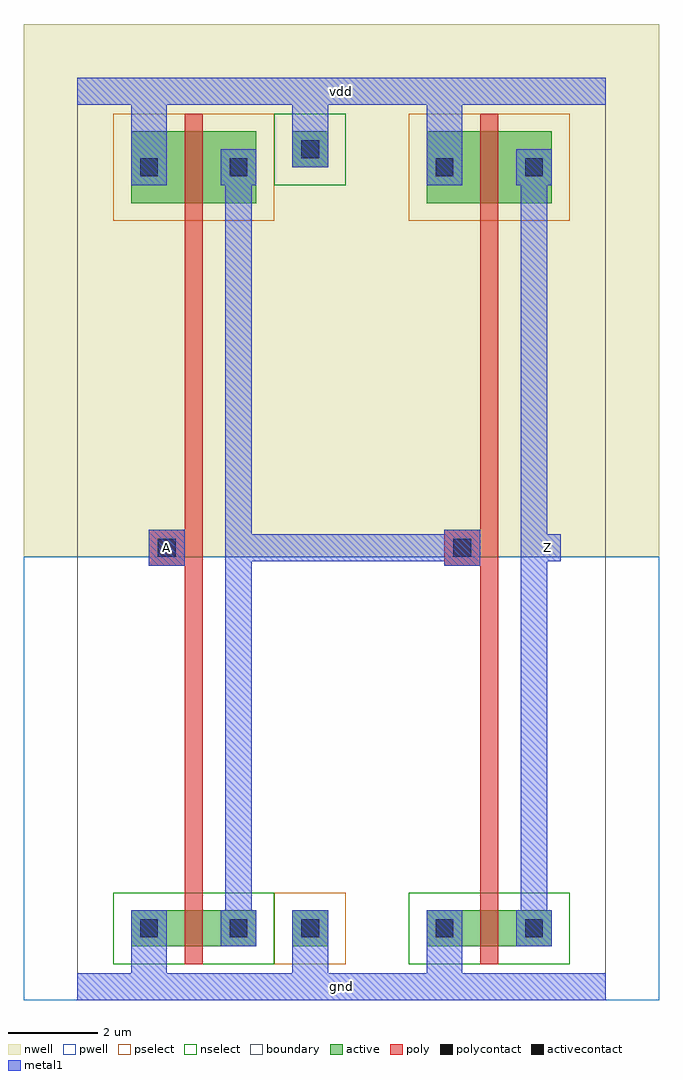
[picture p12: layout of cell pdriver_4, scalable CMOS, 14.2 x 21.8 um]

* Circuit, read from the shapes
.subckt pdriver_4 A Z gnd vdd
M1 pinv_9_1/A A gnd gnd nfet w=0.8u l=0.4u
M2 Z pinv_9_1/A gnd gnd nfet w=0.8u l=0.4u
M3 pinv_9_1/A A vdd vdd pfet w=1.6u l=0.4u
M4 Z pinv_9_1/A vdd vdd pfet w=1.6u l=0.4u
.ends

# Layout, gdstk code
import gdstk
lib = gdstk.Library(unit=1e-6, precision=1e-09)
def R(c, l, rs):  # rectangles x0, y0, x1, y1
    for r in rs: c.add(gdstk.rectangle(r[:2], r[2:], *l))
pwell = (41, 0)
nwell = (42, 0)
active = (43, 0)
pselect = (44, 0)
nselect = (45, 0)
poly = (46, 0)
polycontact = (47, 0)
activecontact = (48, 0)
metal1 = (49, 0)
boundary = (63, 0)

contact_9 = lib.new_cell('contact_9')
R(contact_9, nwell, [(-1.2,-1.2,2,2)])
R(contact_9, active, [(0,0,0.8,0.8)])
R(contact_9, pselect, [(-0.4,-0.4,1.2,1.2)])
R(contact_9, activecontact, [(0.2,0.2,0.6,0.6)])
R(contact_9, metal1, [(0,0,0.8,0.8)])
R(contact_9, boundary, [(-1.2,-1.2,2,2)])

pmos_m1_w1_600_sm1_dm1_d = lib.new_cell('pmos_m1_w1_600_sm1_dm1_da_p')
R(pmos_m1_w1_600_sm1_dm1_d, nwell, [(-1.2,-1.2,4,2.8)])
R(pmos_m1_w1_600_sm1_dm1_d, active, [(0,0,2.8,1.6)])
R(pmos_m1_w1_600_sm1_dm1_d, pselect, [(-0.4,-0.4,3.2,2)])
R(pmos_m1_w1_600_sm1_dm1_d, poly, [(1.2,-0.4,1.6,2), (1.2,-0.4,1.6,2)])
R(pmos_m1_w1_600_sm1_dm1_d, metal1, [(0,0.4,0.8,1.2), (2,0.4,2.8,1.2)])
R(pmos_m1_w1_600_sm1_dm1_d, boundary, [(-1.2,-1.2,4,2.8)])
pmos_m1_w1_600_sm1_dm1_d.add(gdstk.Reference(contact_9, (0,0.4)))
pmos_m1_w1_600_sm1_dm1_d.add(gdstk.Reference(contact_9, (2,0.4)))
pmos_m1_w1_600_sm1_dm1_d.add(gdstk.Label('G', (1.4,0.8), layer=46, texttype=0))
pmos_m1_w1_600_sm1_dm1_d.add(gdstk.Label('S', (0.4,0.8), layer=49, texttype=0))
pmos_m1_w1_600_sm1_dm1_d.add(gdstk.Label('D', (2.4,0.8), layer=49, texttype=0))

contact_14 = lib.new_cell('contact_14')
R(contact_14, pwell, [(-1.2,-1.2,2,2)])
R(contact_14, active, [(0,0,0.8,0.8)])
R(contact_14, nselect, [(-0.4,-0.4,1.2,1.2)])
R(contact_14, activecontact, [(0.2,0.2,0.6,0.6)])
R(contact_14, metal1, [(0,0,0.8,0.8)])
R(contact_14, boundary, [(-1.2,-1.2,2,2)])

nmos_m1_w0_800_sm1_dm1_d = lib.new_cell('nmos_m1_w0_800_sm1_dm1_da_p')
R(nmos_m1_w0_800_sm1_dm1_d, pwell, [(-1.2,-1.2,4,2)])
R(nmos_m1_w0_800_sm1_dm1_d, active, [(0,0,2.8,0.8)])
R(nmos_m1_w0_800_sm1_dm1_d, nselect, [(-0.4,-0.4,3.2,1.2)])
R(nmos_m1_w0_800_sm1_dm1_d, poly, [(1.2,-0.4,1.6,1.2), (1.2,-0.4,1.6,1.2)])
R(nmos_m1_w0_800_sm1_dm1_d, metal1, [(0,0,0.8,0.8), (2,0,2.8,0.8)])
R(nmos_m1_w0_800_sm1_dm1_d, boundary, [(-1.2,-1.2,4,2)])
nmos_m1_w0_800_sm1_dm1_d.add(gdstk.Reference(contact_14, (0,0)))
nmos_m1_w0_800_sm1_dm1_d.add(gdstk.Reference(contact_14, (2,0)))
nmos_m1_w0_800_sm1_dm1_d.add(gdstk.Label('G', (1.4,0.4), layer=46, texttype=0))
nmos_m1_w0_800_sm1_dm1_d.add(gdstk.Label('S', (0.4,0.4), layer=49, texttype=0))
nmos_m1_w0_800_sm1_dm1_d.add(gdstk.Label('D', (2.4,0.4), layer=49, texttype=0))

contact_15 = lib.new_cell('contact_15')
R(contact_15, nwell, [(-1.2,-1.2,2,2)])
R(contact_15, active, [(0,0,0.8,0.8)])
R(contact_15, nselect, [(-0.4,-0.4,1.2,1.2)])
R(contact_15, activecontact, [(0.2,0.2,0.6,0.6)])
R(contact_15, metal1, [(0,0,0.8,0.8)])
R(contact_15, boundary, [(-1.2,-1.2,2,2)])

contact_16 = lib.new_cell('contact_16')
R(contact_16, pwell, [(-1.2,-1.2,2,2)])
R(contact_16, active, [(0,0,0.8,0.8)])
R(contact_16, pselect, [(-0.4,-0.4,1.2,1.2)])
R(contact_16, activecontact, [(0.2,0.2,0.6,0.6)])
R(contact_16, metal1, [(0,0,0.8,0.8)])
R(contact_16, boundary, [(-1.2,-1.2,2,2)])

contact_10 = lib.new_cell('contact_10')
R(contact_10, poly, [(0,0,0.8,0.8)])
R(contact_10, polycontact, [(0.2,0.2,0.6,0.6)])
R(contact_10, metal1, [(0,0,0.8,0.8)])
R(contact_10, boundary, [(0,0,0.8,0.8)])

pinv_6 = lib.new_cell('pinv_6')
R(pinv_6, pwell, [(-1.2,-0.3,7.8,9.6)])
R(pinv_6, nwell, [(-1.2,9.6,7.8,21.5)])
R(pinv_6, poly, [(2.4,2.1,2.8,17.1), (2,9.4,2.4,10.2)])
R(pinv_6, metal1, [(0,-0.3,6.6,0.3), (1.2,-0.3,2,0.9), (4.8,0,5.6,1.3), (3.3,0.9,3.9,18.7), (1.6,9.4,2.4,10.2), (3.6,9.5,4.2,10.1), (1.2,17.9,2,20.3), (4.8,18.7,5.6,20), (0,19.7,6.6,20.3)])
R(pinv_6, boundary, [(0,0,6.6,20), (0,0,6.6,20)])
pinv_6.add(gdstk.Reference(pmos_m1_w1_600_sm1_dm1_d, (1.2,17.5)))
pinv_6.add(gdstk.Reference(nmos_m1_w0_800_sm1_dm1_d, (1.2,0.9)))
pinv_6.add(gdstk.Reference(contact_15, (4.8,18.3)))
pinv_6.add(gdstk.Reference(contact_16, (4.8,0.9)))
pinv_6.add(gdstk.Reference(contact_10, (1.6,9.4)))
pinv_6.add(gdstk.Label('A', (2,9.8), layer=49, texttype=0))
pinv_6.add(gdstk.Label('Z', (3.9,9.8), layer=49, texttype=0))
pinv_6.add(gdstk.Label('gnd', (3.3,0), layer=49, texttype=0))
pinv_6.add(gdstk.Label('vdd', (3.3,20), layer=49, texttype=0))

pinv_9 = lib.new_cell('pinv_9')
R(pinv_9, pwell, [(-1.2,-0.3,6.4,9.6)])
R(pinv_9, nwell, [(-1.2,9.6,6.4,21.5)])
R(pinv_9, poly, [(2.4,2.1,2.8,17.1), (2,9.4,2.4,10.2)])
R(pinv_9, metal1, [(0,-0.3,5.2,0.3), (1.2,-0.3,2,0.9), (3.3,0.9,3.9,18.7), (1.6,9.4,2.4,10.2), (3.6,9.5,4.2,10.1), (1.2,17.9,2,20.3), (0,19.7,5.2,20.3)])
R(pinv_9, boundary, [(0,0,5.2,20), (0,0,5.2,20)])
pinv_9.add(gdstk.Reference(pmos_m1_w1_600_sm1_dm1_d, (1.2,17.5)))
pinv_9.add(gdstk.Reference(nmos_m1_w0_800_sm1_dm1_d, (1.2,0.9)))
pinv_9.add(gdstk.Reference(contact_10, (1.6,9.4)))
pinv_9.add(gdstk.Label('A', (2,9.8), layer=49, texttype=0))
pinv_9.add(gdstk.Label('Z', (3.9,9.8), layer=49, texttype=0))
pinv_9.add(gdstk.Label('gnd', (2.6,0), layer=49, texttype=0))
pinv_9.add(gdstk.Label('vdd', (2.6,20), layer=49, texttype=0))

pdriver_4 = lib.new_cell('pdriver_4')
R(pdriver_4, pwell, [(-1.2,-0.3,13,9.6)])
R(pdriver_4, nwell, [(-1.2,9.6,13,21.5)])
R(pdriver_4, metal1, [(0,-0.3,11.8,0.3), (1.6,9.4,2.4,10.2), (3.9,9.5,8.6,10.1), (10.2,9.5,10.8,10.1), (0,19.7,11.8,20.3)])
R(pdriver_4, boundary, [(0,0,11.8,20), (0,0,11.8,20)])
pdriver_4.add(gdstk.Reference(pinv_6, (0,0)))
pdriver_4.add(gdstk.Reference(pinv_9, (6.6,0)))
pdriver_4.add(gdstk.Label('Z', (10.5,9.8), layer=49, texttype=0))
pdriver_4.add(gdstk.Label('A', (2,9.8), layer=49, texttype=0))
pdriver_4.add(gdstk.Label('gnd', (5.9,0), layer=49, texttype=0))
pdriver_4.add(gdstk.Label('vdd', (5.9,20), layer=49, texttype=0))

lib.write_gds('pdriver_4.gds')
